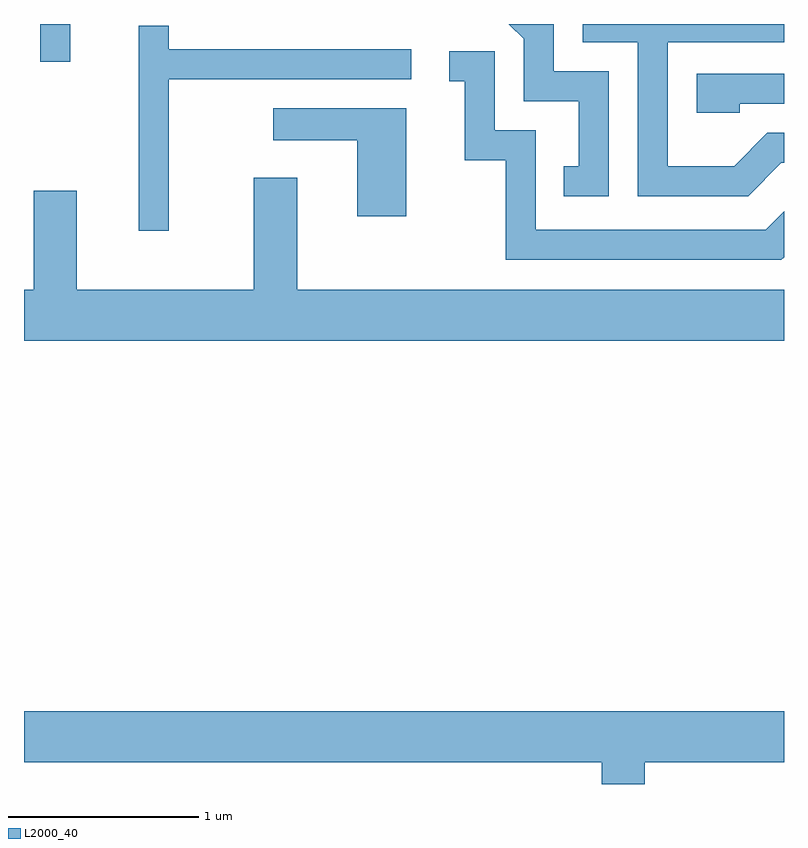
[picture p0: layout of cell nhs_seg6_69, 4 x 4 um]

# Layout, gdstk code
import gdstk
lib = gdstk.Library(unit=1e-6, precision=1e-09)
def R(c, l, rs):  # rectangles x0, y0, x1, y1
    for r in rs: c.add(gdstk.rectangle(r[:2], r[2:], *l))
def P(c, l, *ps):  # polygons
    for p in ps: c.add(gdstk.Polygon(p, *l))
L2000_40 = (2000, 40)

nhs_seg6_69 = lib.new_cell('nhs_seg6_69')
R(nhs_seg6_69, L2000_40, [(187.696,1535.963,187.854,1536.162)])
P(nhs_seg6_69, L2000_40, [(190.689,1535.914),(190.399,1535.914),(190.399,1536.162),(190.163,1536.162),(190.241,1536.084),(190.241,1535.756),(190.531,1535.756),(190.531,1535.414),(190.453,1535.414),(190.453,1535.256),(190.689,1535.256)],
  [(191.597,1535.431),(191.611,1535.431),(191.611,1535.589),(191.524,1535.589),(191.349,1535.414),(190.999,1535.414),(190.999,1536.066),(191.611,1536.066),(191.611,1536.162),(190.551,1536.162),(190.551,1536.066),(190.841,1536.066),(190.841,1535.256),(191.422,1535.256)],
  [(188.374,1535.871),(189.648,1535.871),(189.648,1536.029),(188.374,1536.029),(188.374,1536.153),(188.216,1536.153),(188.216,1535.073),(188.374,1535.073)],
  [(191.611,1534.935),(191.611,1535.176),(191.514,1535.079),(190.304,1535.079),(190.304,1535.604),(190.089,1535.604),(190.089,1536.019),(189.848,1536.019),(189.848,1535.861),(189.931,1535.861),(189.931,1535.446),(190.146,1535.446),(190.146,1534.921),(191.597,1534.921)],
  [(191.379,1535.741),(191.611,1535.741),(191.611,1535.899),(191.151,1535.899),(191.151,1535.696),(191.379,1535.696)],
  [(189.624,1535.719),(188.923,1535.719),(188.923,1535.551),(189.366,1535.551),(189.366,1535.151),(189.624,1535.151)],
  [(191.611,1534.764),(189.049,1534.764),(189.049,1535.354),(188.821,1535.354),(188.821,1534.764),(187.889,1534.764),(187.889,1535.284),(187.661,1535.284),(187.661,1534.764),(187.611,1534.764),(187.611,1534.496),(191.611,1534.496)],
  [(190.879,1532.276),(191.611,1532.276),(191.611,1532.544),(187.611,1532.544),(187.611,1532.276),(190.651,1532.276),(190.651,1532.162),(190.879,1532.162)])

lib.write_gds('nhs_seg6_69.gds')
